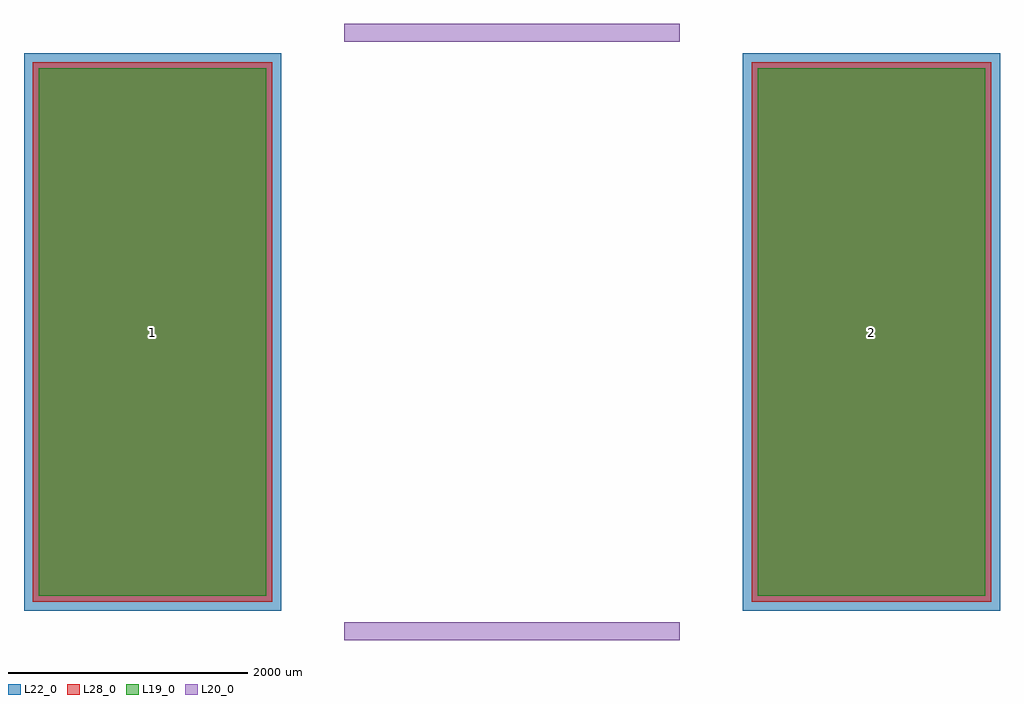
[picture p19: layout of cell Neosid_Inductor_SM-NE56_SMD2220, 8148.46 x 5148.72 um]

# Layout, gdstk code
import gdstk
lib = gdstk.Library(unit=1e-6, precision=1e-09)
def R(c, l, rs):  # rectangles x0, y0, x1, y1
    for r in rs: c.add(gdstk.rectangle(r[:2], r[2:], *l))
L19_0 = (19, 0)
L20_0 = (20, 0)
L22_0 = (22, 0)
L28_0 = (28, 0)

neosid_inductor_sm_ne56_ = lib.new_cell('Neosid_Inductor_SM-NE56_SMD2220')
R(neosid_inductor_sm_ne56_, L19_0, [(-3949.23,-2200.44,-2050.25,2200.44), (2050.25,-2200.44,3949.23,2200.44)])
R(neosid_inductor_sm_ne56_, L22_0, [(-4074.23,-2325.44,-1925.25,2325.44), (1925.25,-2325.44,4074.23,2325.44)])
R(neosid_inductor_sm_ne56_, L28_0, [(-3999.23,-2250.44,-2000.25,2250.44), (2000.25,-2250.44,3999.23,2250.44)])
neosid_inductor_sm_ne56_.add(gdstk.FlexPath([(1399.54,2499.36),(-1399.54,2499.36)], 149.998, ends="flush", simple_path=True, layer=20, datatype=0))  # L20_0
neosid_inductor_sm_ne56_.add(gdstk.FlexPath([(1399.54,-2499.36),(-1399.54,-2499.36)], 149.998, ends="flush", simple_path=True, layer=20, datatype=0))  # L20_0
neosid_inductor_sm_ne56_.add(gdstk.Label('1', (-2999.74,0), layer=28, texttype=0))
neosid_inductor_sm_ne56_.add(gdstk.Label('2', (2999.74,0), layer=28, texttype=0))
neosid_inductor_sm_ne56_.add(gdstk.Label('type', (0,-4201.16), layer=9, texttype=0))
neosid_inductor_sm_ne56_.add(gdstk.Label('devicename', (99.06,3850.64), layer=9, texttype=0))

lib.write_gds('Neosid_Inductor_SM-NE56_SMD2220.gds')
